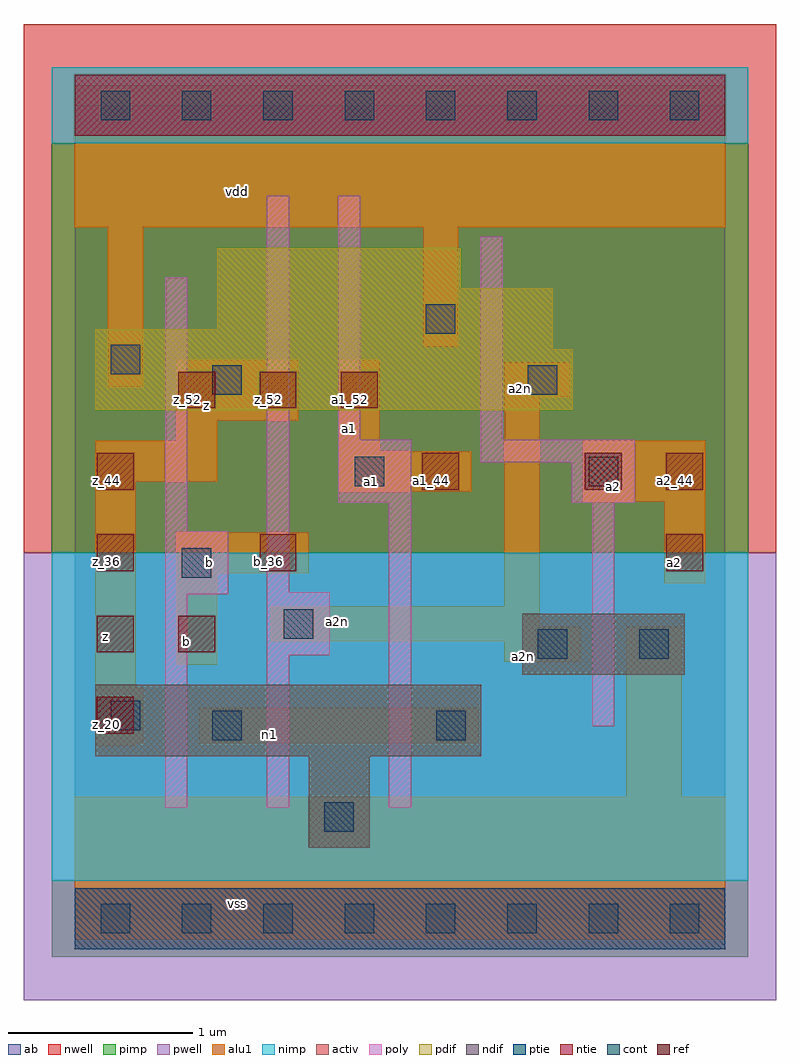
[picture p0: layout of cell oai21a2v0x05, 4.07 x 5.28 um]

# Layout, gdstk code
import gdstk
lib = gdstk.Library(unit=1e-6, precision=2.5e-09)
def R(c, l, rs):  # rectangles x0, y0, x1, y1
    for r in rs: c.add(gdstk.rectangle(r[:2], r[2:], *l))
def A(c, l, x, y, w, h, nx, ny, dx, dy):  # array of equal rectangles
    R(c, l, [(x+i*dx, y+j*dy, x+i*dx+w, y+j*dy+h) for i in range(nx) for j in range(ny)])
ndif = (3, 0)
pdif = (4, 0)
ntie = (5, 0)
ptie = (6, 0)
ref = (24, 0)
cont = (25, 0)
pwell = (41, 0)
nwell = (42, 0)
activ = (43, 0)
pimp = (44, 0)
nimp = (45, 0)
poly = (46, 0)
alu1 = (49, 0)
ab = (63, 0)

oai21a2v0x05 = lib.new_cell('oai21a2v0x05')
R(oai21a2v0x05, ndif, [(1.265,0.385,1.595,0.88), (0.11,0.88,2.2,1.265), (2.42,1.32,3.3,1.65)])
R(oai21a2v0x05, pdif, [(0.11,2.75,2.695,3.08), (0.11,3.08,2.585,3.19), (0.77,3.19,2.585,3.41), (0.77,3.41,2.09,3.63)])
R(oai21a2v0x05, ntie, [(0,4.235,3.52,4.565)])
R(oai21a2v0x05, ptie, [(0,-0.165,3.52,0.165)])
A(oai21a2v0x05, ref, 0.12, 1, 0.2, 0.2, 1, 4, 0, 0.44)
A(oai21a2v0x05, ref, 0.56, 2.76, 0.2, 0.2, 3, 1, 0.44, 0)
R(oai21a2v0x05, ref, [(0.56,1.44,0.76,1.64), (1,1.88,1.2,2.08), (3.2,1.88,3.4,2.08), (1.88,2.32,2.08,2.52), (2.76,2.32,2.96,2.52), (3.2,2.32,3.4,2.52)])
A(oai21a2v0x05, cont, 0.14, -0.08, 0.16, 0.16, 8, 2, 0.44, 4.4)
R(oai21a2v0x05, cont, [(1.35,0.47,1.51,0.63), (0.745,0.965,0.905,1.125), (1.955,0.965,2.115,1.125), (0.195,1.02,0.355,1.18), (2.505,1.405,2.665,1.565), (3.055,1.405,3.215,1.565), (1.13,1.515,1.29,1.675), (0.58,1.845,0.74,2.005), (1.515,2.34,1.675,2.5), (2.78,2.34,2.94,2.5), (0.745,2.835,0.905,2.995), (2.45,2.835,2.61,2.995), (0.195,2.945,0.355,3.105), (1.9,3.165,2.06,3.325)])
R(oai21a2v0x05, pwell, [(-0.275,-0.44,3.795,1.98)])
R(oai21a2v0x05, nwell, [(-0.275,1.98,3.795,4.84)])
R(oai21a2v0x05, activ, [(0,-0.165,3.52,0.165), (1.265,0.385,1.595,0.88), (0.11,0.88,2.2,1.265), (2.42,1.32,3.3,1.65), (0.11,2.75,2.695,3.08), (0.11,3.08,2.585,3.19), (0.77,3.19,2.585,3.41), (0.77,3.41,2.09,3.63), (0,4.235,3.52,4.565)])
R(oai21a2v0x05, pimp, [(-0.125,-0.205,3.645,0.205), (-0.125,1.98,3.645,4.195)])
R(oai21a2v0x05, nimp, [(-0.125,0.205,3.645,1.98), (-0.125,4.195,3.645,4.605)])
R(oai21a2v0x05, poly, [(0.49,0.6,0.61,1.755), (1.04,0.6,1.16,1.425), (1.7,0.6,1.82,2.25), (2.8,1.04,2.92,2.25), (1.04,1.425,1.38,1.765), (0.49,1.755,0.83,2.095), (1.04,1.765,1.16,3.91), (0.49,2.095,0.61,3.47), (1.425,2.25,1.82,2.59), (2.69,2.25,3.03,2.47), (2.195,2.47,3.03,2.59), (1.425,2.59,1.545,3.91), (2.195,2.59,2.315,3.69)])
R(oai21a2v0x05, alu1, [(0,-0.11,3.52,0.66), (2.985,0.66,3.285,1.58), (0.11,0.935,0.33,0.95), (0.11,0.95,0.37,1.25), (0.675,0.95,2.185,1.14), (0.11,1.25,0.33,2.365), (0.55,1.375,0.77,1.87), (2.325,1.39,2.735,1.5), (1.06,1.5,2.735,1.58), (1.06,1.58,2.515,1.69), (2.325,1.69,2.515,2.82), (3.19,1.815,3.41,2.255), (0.55,1.87,1.265,2.09), (2.75,2.255,3.41,2.585), (1.43,2.31,2.145,2.53), (0.11,2.365,0.77,2.585), (1.43,2.53,1.65,3.025), (0.55,2.585,0.77,2.695), (0.55,2.695,1.21,3.025), (2.325,2.82,2.68,3.01), (0.18,2.875,0.37,3.74), (1.885,3.095,2.075,3.74), (0,3.74,3.52,4.51)])
R(oai21a2v0x05, ab, [(0,0,3.52,4.4)])
oai21a2v0x05.add(gdstk.Label('vss', (0.88,0.0825), layer=49, texttype=0))
oai21a2v0x05.add(gdstk.Label('n1', (1.0525,0.9975), layer=49, texttype=0))
oai21a2v0x05.add(gdstk.Label('a2n', (2.4275,1.4175), layer=49, texttype=0))
oai21a2v0x05.add(gdstk.Label('a2n', (1.4225,1.6075), layer=49, texttype=0))
oai21a2v0x05.add(gdstk.Label('a2', (3.245,1.925), layer=49, texttype=0))
oai21a2v0x05.add(gdstk.Label('a2', (2.915,2.3375), layer=49, texttype=0))
oai21a2v0x05.add(gdstk.Label('b', (0.605,1.4975), layer=49, texttype=0))
oai21a2v0x05.add(gdstk.Label('b', (0.7275,1.925), layer=49, texttype=0))
oai21a2v0x05.add(gdstk.Label('a1', (1.6075,2.365), layer=49, texttype=0))
oai21a2v0x05.add(gdstk.Label('z', (0.165,1.5275), layer=49, texttype=0))
oai21a2v0x05.add(gdstk.Label('a2n', (2.4125,2.8675), layer=49, texttype=0))
oai21a2v0x05.add(gdstk.Label('a1', (1.485,2.6525), layer=49, texttype=0))
oai21a2v0x05.add(gdstk.Label('z', (0.715,2.7775), layer=49, texttype=0))
oai21a2v0x05.add(gdstk.Label('vdd', (0.88,3.9325), layer=49, texttype=0))
oai21a2v0x05.add(gdstk.Label('a2_36', (3.25,1.93), layer=24, texttype=0))
oai21a2v0x05.add(gdstk.Label('z_52', (1.05,2.81), layer=24, texttype=0))
oai21a2v0x05.add(gdstk.Label('z_52', (0.61,2.81), layer=24, texttype=0))
oai21a2v0x05.add(gdstk.Label('b_28', (0.61,1.49), layer=24, texttype=0))
oai21a2v0x05.add(gdstk.Label('b_36', (1.05,1.93), layer=24, texttype=0))
oai21a2v0x05.add(gdstk.Label('a1_52', (1.49,2.81), layer=24, texttype=0))
oai21a2v0x05.add(gdstk.Label('a2_44', (3.25,2.37), layer=24, texttype=0))
oai21a2v0x05.add(gdstk.Label('a2_44', (2.81,2.37), layer=24, texttype=0))
oai21a2v0x05.add(gdstk.Label('a1_44', (1.93,2.37), layer=24, texttype=0))
oai21a2v0x05.add(gdstk.Label('z_44', (0.17,2.37), layer=24, texttype=0))
oai21a2v0x05.add(gdstk.Label('z_36', (0.17,1.93), layer=24, texttype=0))
oai21a2v0x05.add(gdstk.Label('z_28', (0.17,1.49), layer=24, texttype=0))
oai21a2v0x05.add(gdstk.Label('z_20', (0.17,1.05), layer=24, texttype=0))

lib.write_gds('oai21a2v0x05.gds')
